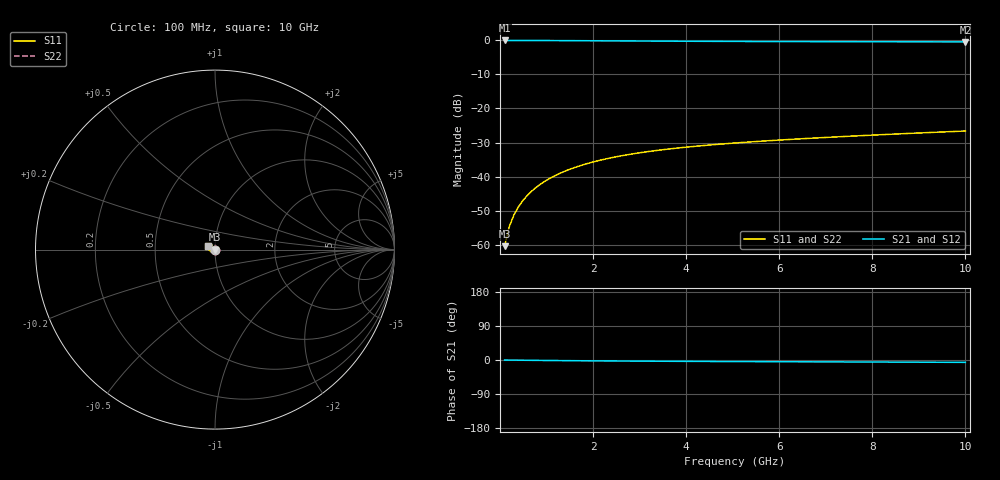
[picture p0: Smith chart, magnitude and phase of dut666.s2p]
! Touchstone file exported from HFSS 2024.1.0
!  File:  C:/UserFiles/LocalFiles/RDL_TSV_Batchsim/temp_TSV1_666_1779793652.aedt
!  Generated:  07:13:47 PM May 26, 2026
!  Design:  TSV1
!  Project:  temp_TSV1_666_1779793652
!  Setup:  Setup1
!  Solution:  Sweep
! Variables:
!  dtsv = 7.15um
!  hbump = 3um
!  htsv = 94.8um
!  lrdl = 252.1521522um
!  p = 40
!  p1 = 53.31um
!  t = 500um
!  trdl = 3um
!  wrdl = 24.89489489um
# GHz S MA R 50.000000
! Terminal data exported
! Port[1] = TSV22_T1
! Port[2] = TSV22_T2
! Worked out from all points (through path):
!   100 points, 100 MHz to 10 GHz, reference 50 ohm
!   highest |S21| = 0.00 dB at 100 MHz (marker M1); lowest = -0.4 dB at 10 GHz (marker M2)
!   lowest |S11| = -60.5 dB at 100 MHz (marker M3), VSWR 1.00, Z = 50 - j0.0906 ohm
!   |S11| at or under -10 dB: start of sweep to end of sweep
!   |S22| runs from -60.5 to -26.6 dB; largest |S21 - S12| = 4.4e-15
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0.1  0.0009476 -72.8  0.9996 -0.1  0.9996 -0.1  0.0009476 -72.8
! Gamma 0 0 0 0
! Port Impedance 50 0 50 0
0.2  0.00183 -84.3  0.9995 -0.3  0.9995 -0.3  0.00183 -84.3
0.3  0.002724 -89.7  0.9994 -0.4  0.9994 -0.4  0.002724 -89.7
0.4  0.003616 -93.5  0.9991 -0.5  0.9991 -0.5  0.003616 -93.5
0.5  0.004503 -96.5  0.9988 -0.6  0.9988 -0.6  0.004503 -96.5
0.6  0.005383 -99.3  0.9984 -0.8  0.9984 -0.8  0.005383 -99.3
0.7  0.006255 -101.8  0.998 -0.9  0.998 -0.9  0.006255 -101.8
0.8  0.007117 -104.3  0.9976 -1.0  0.9976 -1.0  0.007117 -104.3
0.9  0.007967 -106.6  0.997 -1.1  0.997 -1.1  0.007967 -106.6
1.1  0.00963 -111.0  0.9958 -1.3  0.9958 -1.3  0.00963 -111.0
1.4  0.01202 -117.3  0.9938 -1.7  0.9938 -1.7  0.01202 -117.3
1.6  0.01353 -121.2  0.9922 -1.9  0.9922 -1.9  0.01353 -121.2
1.8  0.01497 -125.1  0.9906 -2.1  0.9906 -2.1  0.01497 -125.1
2.1  0.01702 -130.6  0.9881 -2.3  0.9881 -2.3  0.01702 -130.6
2.5  0.01952 -137.4  0.9848 -2.6  0.9848 -2.6  0.01952 -137.4
2.9  0.02178 -143.8  0.9815 -2.9  0.9815 -2.9  0.02178 -143.8
3.4  0.02432 -151.1  0.9776 -3.2  0.9776 -3.2  0.02432 -151.1
4.2  0.02784 -161.6  0.9723 -3.7  0.9723 -3.7  0.02784 -161.6
5.1  0.03127 -171.7  0.9674 -4.1  0.9674 -4.1  0.03127 -171.7
6.7  0.03659 173.6  0.961 -4.8  0.961 -4.8  0.03659 173.6
8.4  0.04183 161.3  0.9565 -5.5  0.9565 -5.5  0.04183 161.3
10  0.04666 152.0  0.9535 -6.2  0.9535 -6.2  0.04666 152.0
